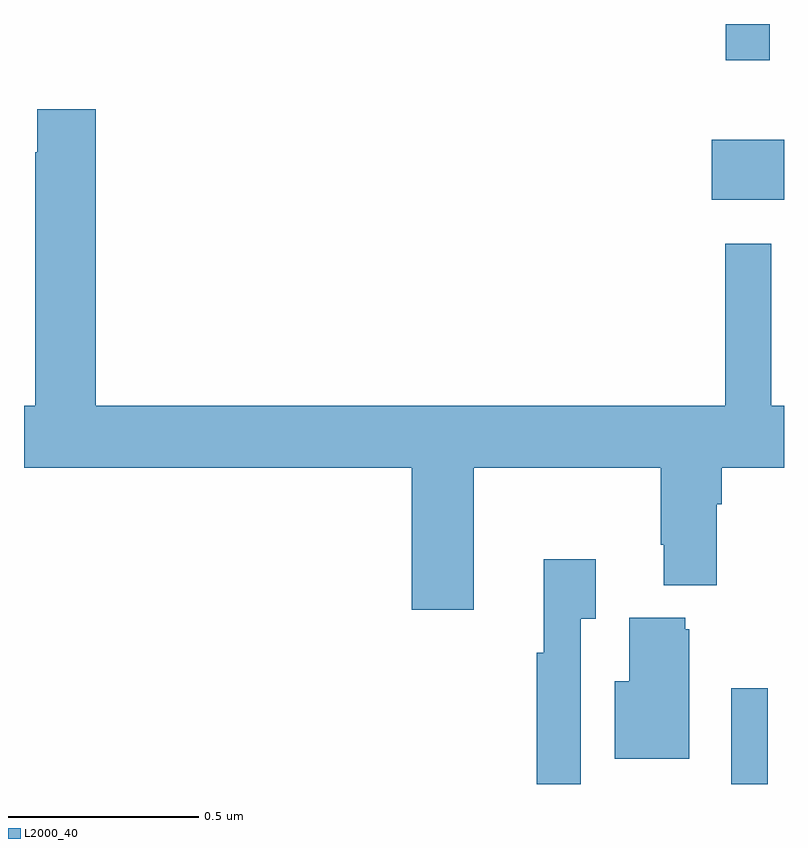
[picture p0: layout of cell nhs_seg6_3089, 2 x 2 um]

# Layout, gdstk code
import gdstk
lib = gdstk.Library(unit=1e-6, precision=1e-09)
def R(c, l, rs):  # rectangles x0, y0, x1, y1
    for r in rs: c.add(gdstk.rectangle(r[:2], r[2:], *l))
def P(c, l, *ps):  # polygons
    for p in ps: c.add(gdstk.Polygon(p, *l))
L2000_40 = (2000, 40)

nhs_seg6_3089 = lib.new_cell('nhs_seg6_3089')
R(nhs_seg6_3089, L2000_40, [(153.861,950.5,153.957,950.752), (153.81,952.037,154,952.195), (153.847,952.404,153.963,952.5)])
P(nhs_seg6_3089, L2000_40, [(153.184,951.332),(153.676,951.332),(153.676,951.13),(153.683,951.13),(153.683,951.023),(153.823,951.023),(153.823,951.236),(153.836,951.236),(153.836,951.332),(154,951.332),(154,951.496),(153.967,951.496),(153.967,951.922),(153.845,951.922),(153.845,951.496),(152.189,951.496),(152.189,952.276),(152.035,952.276),(152.035,952.163),(152.029,952.163),(152.029,951.496),(152,951.496),(152,951.332),(153.02,951.332),(153.02,950.958),(153.184,950.958)],
  [(153.465,950.935),(153.505,950.935),(153.505,951.091),(153.368,951.091),(153.368,950.846),(153.349,950.846),(153.349,950.5),(153.465,950.5)],
  [(153.751,950.907),(153.74,950.907),(153.74,950.938),(153.593,950.938),(153.593,950.77),(153.554,950.77),(153.554,950.567),(153.751,950.567)])

lib.write_gds('nhs_seg6_3089.gds')
